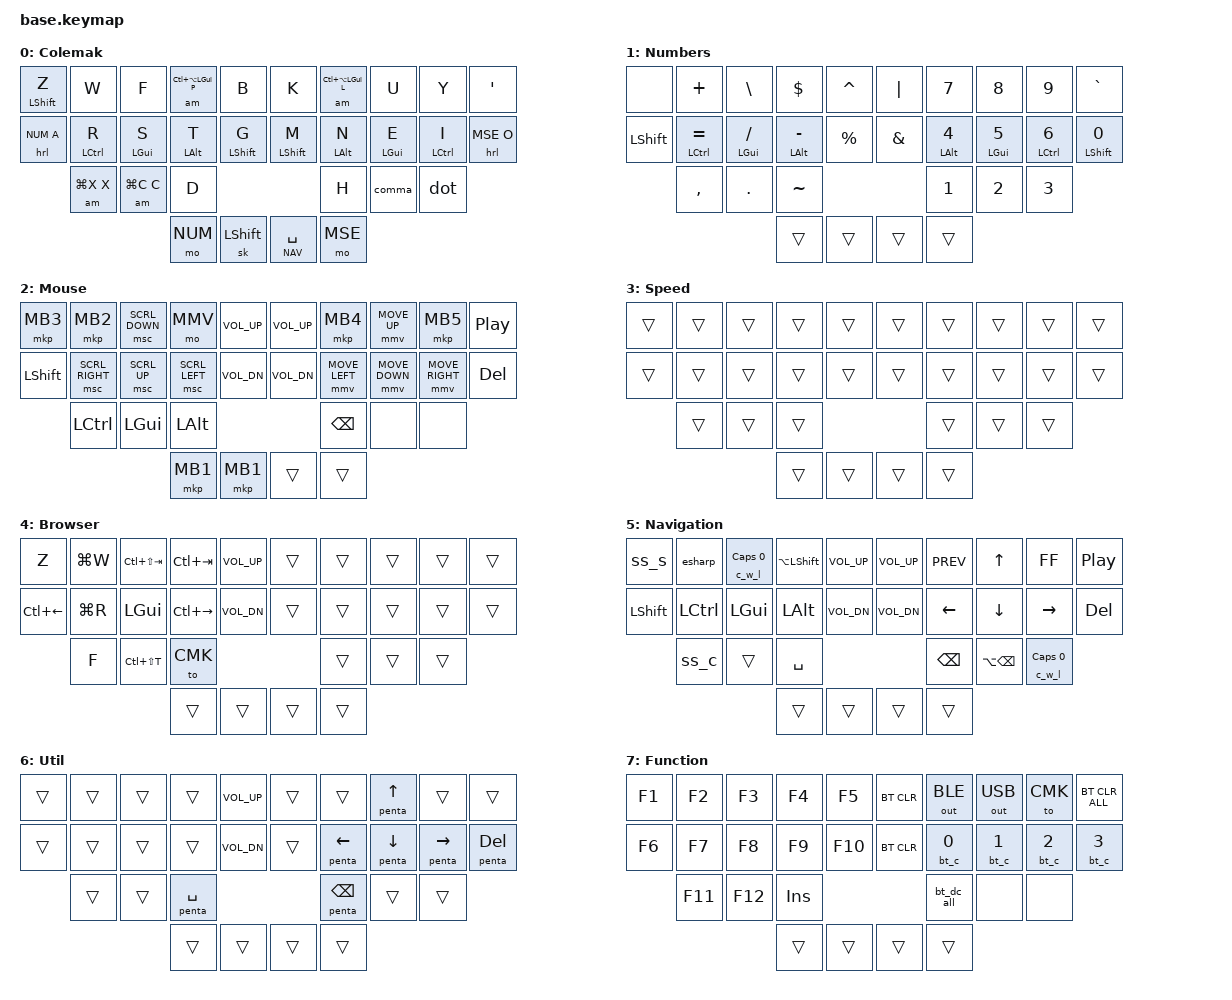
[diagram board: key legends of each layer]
#define ZMK_POINTING_DEFAULT_MOVE_VAL 2100  // default: 600
#define ZMK_POINTING_DEFAULT_SCRL_VAL 14    // default: 10

#include <behaviors.dtsi>
#include <dt-bindings/zmk/keys.h>
#include <dt-bindings/zmk/pointing.h>
#include <dt-bindings/zmk/outputs.h>
#include <dt-bindings/zmk/bt.h>
#include <input/processors.dtsi>   // for speed layer
#include <zmk-helpers/helper.h>


#define CMK 0 // parameterize layer names
#define NUM 1
#define MSE 2
#define MMV 3
#define BRW 4
#define NAV 5
#define MCR 6
#define FUN 7

#define HYPR(keycode) LS(LC(LG(LA(keycode))))  // shorten hyper key definition
#define free &trans

// scrolling is very slow on windows
// mouse layer is the least used layer. Move it? lefthand combo: w + p
// 5x arrow on BLANK TRIGGER!!!!!!!
// --> macro layer with easy combo trigger
//      save
//      del (combo on PRD layer)
//      esc/enter (combo on PRD layer)
//      &hrm on base. &sk on combo with thumb.
//      Alternatively, thumb becomes a layer button with:
//          copy, paste, cut, save, LA(N1), LA(F1), F4
// evaluate usage of enter key


// overrides
&mmv_input_listener { 
    speeder { layers = <MMV>;
      input-processors = <&zip_xy_scaler 4 1>; };  };
&mmv {
    trigger-period-ms = <8>;
    time-to-max-speed-ms = <340>;
    acceleration-exponent = <1>; };
&msc_input_listener { 
    speeder { layers = <MMV>;
      input-processors = <&zip_xy_scaler 4 1>; };  };
&msc {
    time-to-max-speed-ms = <1000>;
    acceleration-exponent = <1>; };
&lt { quick-tap-ms = <125>; }; // repeat space
&sk { release-after-ms = <500>; }; // decrease sticky duration

// behaviours
// mt is hold-pref
ZMK_HOLD_TAP(hrm, // HR mods
    flavor = "tap-preferred";
    tapping-term-ms = <220>;
    require-prior-idle-ms = <80>;
    quick-tap-ms = <180>;
    bindings = <&kp>, <&kp>; )
ZMK_HOLD_TAP(hrl, // HR layer
    flavor = "tap-preferred";
    tapping-term-ms = <190>;
    require-prior-idle-ms = <60>;
    quick-tap-ms = <150>;
    bindings = <&mo>, <&kp>; )
ZMK_HOLD_TAP(am, // automodify
    flavor = "tap-preferred"; // but tap-term reduced from hrm to make holding easier
    tapping-term-ms = <175>;
    require-prior-idle-ms = <90>;
    quick-tap-ms = <200>;
    bindings = <&kp>, <&kp>; )
ZMK_HOLD_TAP(blr, // bootloader + reset
    flavor = "tap-preferred"; tapping-term-ms = <200>; bindings = <&bootloader>, <&sys_reset>; )
ZMK_HOLD_TAP(c_w_l, // caps word/lock
    flavor = "tap-preferred"; tapping-term-ms = <180>; bindings = <&kp>, <&caps_word>; )
ZMK_HOLD_TAP(qu, // qu q
    flavor = "tap-preferred"; tapping-term-ms = <135>; quick-tap-ms = <135>; bindings = <&kp>, <&qu_m>; )
ZMK_TAP_DANCE(ss_s, // tap copy, hold save
    tapping-term-ms = <300>;
    bindings =
        <&mt HYPR(N2) HYPR(N1)>,
        <&kp PRINTSCREEN>; )
ZMK_TAP_DANCE(ss_c, // same as ^
    tapping-term-ms = <300>;
    bindings =
        <&mt HYPR(N4) HYPR(N3)>,
        <&kp LS(LG(S))>; )
///////////
//  &tapdance [view macro] mt([view macro 2] [save]) 
// LA(LSHIFT) language swap
ZMK_TAP_DANCE(cam,
    tapping-term-ms = <200>;
    bindings =
    <&mt LA(F1) LA(N1)>,
    <&kp LC(S)>; )
ZMK_MOD_MORPH(cmdq,
    bindings = <&qu Q 0>, <&kp LG(Q)>;
    mods = <MOD_LGUI>; )
ZMK_MOD_MORPH(comma,
    bindings = <&am LT COMMA>, <&kp SCLN>;
    mods = <MOD_LSFT>; )
ZMK_MOD_MORPH(dot,
    bindings = <&am GT DOT>, <&kp COLON>;
    mods = <MOD_LSFT>; )

// macros
ZMK_MACRO(bt_dc_all, // disconnect all bt
    bindings = <&bt BT_DISC 0 &bt BT_DISC 1 &bt BT_DISC 2 &bt BT_DISC 3>; )
ZMK_MACRO(qu_m,
    wait-ms = <5>;
    tap-ms = <5>;
    bindings = <&kp Q &kp U>; )
ZMK_MACRO_ONE_PARAM(bt_c, // combine bt_sel with out_ble
    bindings = <&macro_param_1to2  &bt BT_SEL 0  /*&out OUT_BLE*/>; )
ZMK_MACRO(esharp,
    bindings = <&macro_press &kp LALT &macro_tap &kp KP_N0 &kp KP_N2 &kp KP_N3 &kp KP_N3 &macro_release &kp LALT>; )
ZMK_MACRO_ONE_PARAM(penta,
    bindings = <&macro_param_1to1 &kp 0 &macro_param_1to1 &kp 0 &macro_param_1to1 &kp 0 &macro_param_1to1 &kp 0 &macro_param_1to1 &kp 0>; )
ZMK_MACRO_ONE_PARAM(brc,
    bindings = <&macro_param_1to1 &macro_param_2to2 &mt 0 0 &kp LEFT>; )
ZMK_MACRO_ONE_PARAM(brc2,
    bindings = <&macro_param_1to1 &macro_param_2to2 &mt 0 0 &kp LEFT>; ) // add shift, for {} ()

// combos                                                         lyr, t/o, idl
//disable some combos on mouse layer
// order: left-right hand, horiz-vert, left-right, top-bottom
ZMK_COMBO(undo,         &kp LG(Z),            LT4 LT3,            ALL) // cmd z
ZMK_COMBO(esc,          &kp ESC,              LT3 LT2,            ALL, 33, 50) // esc
ZMK_COMBO(v,            &am LG(V) V,          LT2 LT1,            ALL, 50) // v
ZMK_COMBO(msctrl,       &kp LC(UP),           LT3 LT2 LT1,        ALL) // mission control
ZMK_COMBO(bspc_d,       &mt DEL BSPC,         LM3 LM2,            CMK NUM NAV FUN, 25, 50) // backspace
ZMK_COMBO(tab,          &kp TAB,              LM3 LM1,            ALL, 27) // tab
ZMK_COMBO(enter,        &kp ENTER,            LM2 LM1,            CMK NUM NAV FUN, 24, 55) // enter
ZMK_COMBO(qucombo,      &cmdq Q 0,            LB3 LB2,            ALL) // qu q
ZMK_COMBO(j,            &kp J,                LB2 LB1,            ALL) // j
ZMK_COMBO(bkt,          &mt RBKT LBKT,        LT3 LM3,            ALL) // []
ZMK_COMBO(par,          &mt RPAR LPAR,        LT2 LM2,            ALL) // () 
ZMK_COMBO(slashes,      &am BSLH FSLH,        LT1 LM1,            ALL) // / & bslh 
ZMK_COMBO(bang,         &kp EXCL,             LT0 LM0,            ALL) // !
//ZMK_COMBO(numword,      &num_word NUM,        LT3 LH0,            ALL) // number word
//ZMK_COMBO(del_p,        &mt BSPC DEL,         LM3 LM2,            PRD, 30, 50) // delete
// mid ring bot+top
// ring top mid
// pinky dual
// thumb + finger
ZMK_COMBO(underscore,   &kp UNDERSCORE,       RT1 RT2,            ALL, 22, 50) // _
ZMK_COMBO(bspc_d2,      &mt DEL BSPC,         RM2 RM3,            CMK NUM NAV FUN, 22, 50) // backspace
ZMK_COMBO(enter2,       &kp ENTER,            RM1 RM2,            CMK NUM NAV FUN, 24, 55) // enter
ZMK_COMBO(tab2,         &kp TAB,              RM1 RM3,            ALL, 27) // tab
ZMK_COMBO(dashes,       &am UNDERSCORE MINUS, RB1 RB2,            ALL) // - _
ZMK_COMBO(bspc_w,       &mt LA(DEL) LA(BSPC), RB2 RB3,            ALL) // word bspc
ZMK_COMBO(inter,        &kp QMARK,            RT0 RM0,            ALL) // ?
ZMK_COMBO(astrk_gr,     &mt GRAVE ASTERISK,   RT1 RM1,            ALL) // * `
ZMK_COMBO(pound_at,     &mt AT POUND,         RT2 RM2,            ALL) // # @
ZMK_COMBO(plus,         &mt PLUS EQUAL,       RT3 RM3,            ALL) // + =
ZMK_COMBO(boot,         &blr 0 0,             LT4 LT0 LM4 LM0,    ALL) // rst left (inner+outer)
ZMK_COMBO(FUN,          &mo FUN,              LH0 LH1,            ALL) // FUN
ZMK_COMBO(CMK,          &to CMK,              LM3 LM2 LM1 RM1 RM2 RM3) // CMK (CAG mirror positions)
ZMK_COMBO(BRW,          &tog BRW,             LH1 LH0,            ALL) // BRW

ZMK_LAYER(Colemak, // CMK 0
// ╭──────────────┬──────────────┬──────────────┬──────────────┬──────────────╮   ╭─────────────┬──────────────┬──────────────┬──────────────┬──────────────╮
    &hrm LSHFT Z   &kp W          &kp F        &am LC(LA(LGUI)) P &kp B            &kp K    &am LC(LA(LGUI)) L  &kp U          &kp Y          &kp APOS
// ├──────────────┼──────────────┼──────────────┼──────────────┼──────────────┤   ├─────────────┼──────────────┼──────────────┼──────────────┼──────────────┤
    &hrl NUM A     &hrm LCTRL R   &hrm LGUI S    &hrm LALT T    &hrm LSHIFT G      &hrm LSHIFT M &hrm LALT N    &hrm LGUI E    &hrm LCTRL I   &hrl MSE O
// ╰──────────────┼──────────────┼──────────────┼──────────────┼──────────────╯   ╰─────────────┼──────────────┼──────────────┼──────────────┼──────────────╯
                   &am LG(X) X    &am LG(C) C    &kp D                                           &kp H          &comma         &dot
//                ╰──────────────┴──────────────┼──────────────┼──────────────╮   ╭─────────────┼──────────────┼──────────────┴──────────────╯
                                                 &mo NUM        &sk LSHIFT         &lt NAV SPACE &mo MSE
//                                              ╰──────────────┴──────────────╯   ╰─────────────┴──────────────╯
)
/*
ZMK_LAYER(AKL, // AKL 1
// ╭──────────────┬──────────────┬──────────────┬──────────────┬──────────────╮   ╭─────────────┬──────────────┬──────────────┬──────────────┬──────────────╮
    &none          &kp           &kp           &kp          &am LC(LA(LGUI))  &am LC(LA(LGUI))   &kp      &kp           &kp           &kp 
// ├──────────────┼──────────────┼──────────────┼──────────────┼──────────────┤   ├─────────────┼──────────────┼──────────────┼──────────────┼──────────────┤
    &hrm LSHIFT   &hrm LCTRL    &hrm LGUI     &hrm LALT     &hrm LSHIFT       &hrm LSHIFT  &hrm LALT     &hrm LGUI     &hrm LCTRL    &hrl MSE 
// ╰──────────────┼──────────────┼──────────────┼──────────────┼──────────────╯   ╰─────────────┼──────────────┼──────────────┼──────────────┼──────────────╯
                   &kp           &kp           &kp                                            &kp           &comma         &dot
//                ╰──────────────┴──────────────┼──────────────┼──────────────╮   ╭─────────────┼──────────────┼──────────────┴──────────────╯
                                                 &none        &mt LSHFT [letter]      &lt NAV SPACE &mo MSE
//                                              ╰──────────────┴──────────────╯   ╰─────────────┴──────────────╯
)
*/
ZMK_LAYER(Numbers, // NUM 1
// ╭──────────────┬──────────────┬──────────────┬──────────────┬──────────────╮   ╭─────────────┬──────────────┬──────────────┬──────────────┬──────────────╮
    &none          &kp PLUS       &kp BSLH       &kp DLLR       &kp CARET          &kp PIPE      &kp N7         &kp N8         &kp N9         &kp GRAVE
// ├──────────────┼──────────────┼──────────────┼──────────────┼──────────────┤   ├─────────────┼──────────────┼──────────────┼──────────────┼──────────────┤
    &kp LSHIFT     &hrm LCTRL EQUAL &hrm LGUI FSLH &hrm LALT MINUS &kp PRCNT       &kp AMPS      &hrm LALT N4   &hrm LGUI N5   &hrm LCTRL N6  &hrm LSHIFT N0
// ╰──────────────┼──────────────┼──────────────┼──────────────┼──────────────╯   ╰─────────────┼──────────────┼──────────────┼──────────────┼──────────────╯
                   &kp  COMMA     &kp  DOT       &kp  TILDE                                      &kp N1         &kp N2         &kp N3
//                ╰──────────────┴──────────────┼──────────────┼──────────────╮   ╭─────────────┼──────────────┼──────────────┴──────────────╯
                                                 &trans         &trans             &trans        &trans
//                                              ╰──────────────┴──────────────╯   ╰─────────────┴──────────────╯
)
ZMK_LAYER(Mouse, // MSE 2
// ╭──────────────┬──────────────┬──────────────┬──────────────┬──────────────╮   ╭─────────────┬──────────────┬──────────────┬──────────────┬──────────────╮
    &mkp MB3       &mkp MB2       &msc SCRL_DOWN &mo MMV        &kp C_VOL_UP       &kp C_VOL_UP  &mkp MB4       &mmv MOVE_UP   &mkp MB5       &kp C_PP
// ├──────────────┼──────────────┼──────────────┼──────────────┼──────────────┤   ├─────────────┼──────────────┼──────────────┼──────────────┼──────────────┤
    &kp LSHFT      &msc SCRL_RIGHT &msc SCRL_UP  &msc SCRL_LEFT &kp C_VOL_DN       &kp C_VOL_DN  &mmv MOVE_LEFT &mmv MOVE_DOWN &mmv MOVE_RIGHT &kp DEL
// ╰──────────────┼──────────────┼──────────────┼──────────────┼──────────────╯   ╰─────────────┼──────────────┼──────────────┼──────────────┼──────────────╯
                   &kp LCTRL      &kp LGUI       &kp LALT                                        &kp BACKSPACE  &none          &none
//                ╰──────────────┴──────────────┼──────────────┼──────────────╮   ╭─────────────┼──────────────┼──────────────┴──────────────╯
                                                 &mkp MB1       &mkp MB1           &trans        &trans
//                                              ╰──────────────┴──────────────╯   ╰─────────────┴──────────────╯
)
ZMK_LAYER(Speed, // MMV 3
&trans &trans &trans &trans &trans &trans &trans &trans &trans &trans &trans &trans &trans &trans &trans &trans &trans &trans &trans &trans &trans &trans &trans &trans &trans &trans &trans &trans &trans &trans
)
ZMK_LAYER(Browser, // BRW 4
// needs work. Integrate encoder for tab switching, volume (layer )
// ╭──────────────┬──────────────┬──────────────┬──────────────┬──────────────╮   ╭─────────────┬──────────────┬──────────────┬──────────────┬──────────────╮
    &kp Z          &kp LG(W)      &kp LC(LS(TAB)) &kp LC(TAB)   &kp C_VOL_UP       free          free           free           free           free  
// ├──────────────┼──────────────┼──────────────┼──────────────┼──────────────┤   ├─────────────┼──────────────┼──────────────┼──────────────┼──────────────┤
    &kp LC(LEFT)   &kp LG(R)      &kp LGUI       &kp LC(RIGHT)  &kp C_VOL_DN       free          free           free           free           free
// ╰──────────────┼──────────────┼──────────────┼──────────────┼──────────────╯   ╰─────────────┼──────────────┼──────────────┼──────────────┼──────────────╯
                   &kp F          &kp LC(LS(T))  &to CMK                                         free           free           free
//                ╰──────────────┴──────────────┼──────────────┼──────────────╮   ╭─────────────┼──────────────┼──────────────┴──────────────╯
                                                 &trans         &trans             &trans        &trans
//                                              ╰──────────────┴──────────────╯   ╰─────────────┴──────────────╯
)
ZMK_LAYER(Navigation, // NAV 5
// ╭──────────────┬──────────────┬──────────────┬──────────────┬──────────────╮   ╭─────────────┬──────────────┬──────────────┬──────────────┬──────────────╮
    &ss_s          &esharp      &c_w_l CAPSLOCK 0 &kp LA(LSHFT) &kp C_VOL_UP       &kp C_VOL_UP  &kp C_PREV     &kp UP         &kp C_FF       &kp C_PP
// ├──────────────┼──────────────┼──────────────┼──────────────┼──────────────┤   ├─────────────┼──────────────┼──────────────┼──────────────┼──────────────┤
    &kp LSHFT      &kp LCTRL      &kp LGUI       &kp LALT       &kp C_VOL_DN       &kp C_VOL_DN  &kp LEFT       &kp DOWN       &kp RIGHT      &kp DEL
// ╰──────────────┼──────────────┼──────────────┼──────────────┼──────────────╯   ╰─────────────┼──────────────┼──────────────┼──────────────┼──────────────╯
                   &ss_c          free           &kp SPACE                                       &kp BSPC       &kp LA(BSPC)   &c_w_l CAPSLOCK 0
//                ╰──────────────┴──────────────┼──────────────┼──────────────╮   ╭─────────────┼──────────────┼──────────────┴──────────────╯
                                                 /*&mo MCR*/ &trans        &trans             &trans        &trans
//                                              ╰──────────────┴──────────────╯   ╰─────────────┴──────────────╯
)

ZMK_LAYER(Util, // MCR 6
// ╭──────────────┬──────────────┬──────────────┬──────────────┬──────────────╮   ╭─────────────┬──────────────┬──────────────┬──────────────┬──────────────╮
    free           free           free           free           &kp C_VOL_UP       free          free           &penta UP      free           free  
// ├──────────────┼──────────────┼──────────────┼──────────────┼──────────────┤   ├─────────────┼──────────────┼──────────────┼──────────────┼──────────────┤
    free           free           free           free           &kp C_VOL_DN       free          &penta LEFT    &penta DOWN    &penta RIGHT   &penta DEL
// ╰──────────────┼──────────────┼──────────────┼──────────────┼──────────────╯   ╰─────────────┼──────────────┼──────────────┼──────────────┼──────────────╯
                   free           free           &penta SPACE                                    &penta BSPC    free           free
//                ╰──────────────┴──────────────┼──────────────┼──────────────╮   ╭─────────────┼──────────────┼──────────────┴──────────────╯
                                                 &trans         &trans             &trans        &trans
//                                              ╰──────────────┴──────────────╯   ╰─────────────┴──────────────╯                                            ╰──────────────┴──────────────╯   ╰─────────────┴──────────────╯
)
ZMK_LAYER(Function, // FUN 7
// ╭──────────────┬──────────────┬──────────────┬──────────────┬──────────────╮   ╭─────────────┬──────────────┬──────────────┬──────────────┬──────────────╮
    &kp F1         &kp F2         &kp F3         &kp F4         &kp F5             &bt BT_CLR    &out OUT_BLE  &out OUT_USB   &to CMK        &bt BT_CLR_ALL
// ├──────────────┼──────────────┼──────────────┼──────────────┼──────────────┤   ├─────────────┼──────────────┼──────────────┼──────────────┼──────────────┤
    &kp F6         &kp F7         &kp F8         &kp F9         &kp F10            &bt BT_CLR    &bt_c 0        &bt_c 1        &bt_c 2        &bt_c 3
// ╰──────────────┼──────────────┼──────────────┼──────────────┼──────────────╯   ╰─────────────┼──────────────┼──────────────┼──────────────┼──────────────╯
                   &kp F11        &kp F12        &kp INS                                         &bt_dc_all     &none          &none
//                ╰──────────────┴──────────────┼──────────────┼──────────────╮   ╭─────────────┼──────────────┼──────────────┴──────────────╯
                                                 &trans         &trans             &trans        &trans
//                                              ╰──────────────┴──────────────╯   ╰─────────────┴──────────────╯
)

/*
ZMK_LAYER(Qwerty, // QWR 1
// ╭──────────────┬──────────────┬──────────────┬──────────────┬──────────────╮   ╭─────────────┬──────────────┬──────────────┬──────────────┬──────────────╮
    &kp Q          &kp W          &kp E          &kp R          &kp T              &kp Y         &kp U          &kp I          &kp O          &kp P
// ├──────────────┼──────────────┼──────────────┼──────────────┼──────────────┤   ├─────────────┼──────────────┼──────────────┼──────────────┼──────────────┤
    &hrm LSHIFT A  &hrm LCTRL S   &hrm LGUI D    &hrm LALT F    &kp G              &kp H         &hrm LALT J    &hrm LGUI K    &hrm LCTRL L   &hrm LSHIFT B
// ╰──────────────┼──────────────┼──────────────┼──────────────┼──────────────╯   ╰─────────────┼──────────────┼──────────────┼──────────────┼──────────────╯
                   &am LG(X) X    &am LG(C) C    &kp V                                           &kp N          &kp COMMA      &kp DOT
//                ╰──────────────┴──────────────┼──────────────┼──────────────╮   ╭─────────────┼──────────────┼──────────────┴──────────────╯
                                                 &trans         &trans             &trans        &trans
//                                              ╰──────────────┴──────────────╯   ╰─────────────┴──────────────╯
)
ZMK_LAYER(Productivity, // PRD 4
//&zip_temp_layer PRD <time>
//layer-specific combos?
// ╭──────────────┬──────────────┬──────────────┬──────────────┬──────────────╮   ╭─────────────┬──────────────┬──────────────┬──────────────┬──────────────╮)
    &cam           &kp N9         &kp N8         &kp N7         free               &trans        &trans         &trans         &trans         &trans
// ├──────────────┼──────────────┼──────────────┼──────────────┼──────────────┤   ├─────────────┼──────────────┼──────────────┼──────────────┼──────────────┤
    &hrm LSHIFT N0 &hrm LCTRL N6  &hrm LGUI N5  &hrm LALT N4    free               &trans        &trans         &trans         &trans         &trans
// ╰──────────────┼──────────────┼──────────────┼──────────────┼──────────────╯   ╰─────────────┼──────────────┼──────────────┼──────────────┼──────────────╯
                   &am LC(X) N3   &am LC(C) N2   &kp N1                                          &trans         &trans         &trans
//                ╰──────────────┴──────────────┼──────────────┼──────────────╮   ╭─────────────┼──────────────┼──────────────┴──────────────╯
                                                 &kp DEL        free/*layer* /      &trans        &trans
//                                              ╰──────────────┴──────────────╯   ╰─────────────┴──────────────╯
// --> macro layer, triggering on mouse (sensor, input processor)
//      save
//      del (combo on PRD layer)
//      esc/enter (combo on PRD layer)
//      &hrm on base. &sk on combo with thumb.
//      Alternatively, thumb becomes a layer button with:
//          copy, paste, cut, save, LA(N1), LA(F1), F4
)
*/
